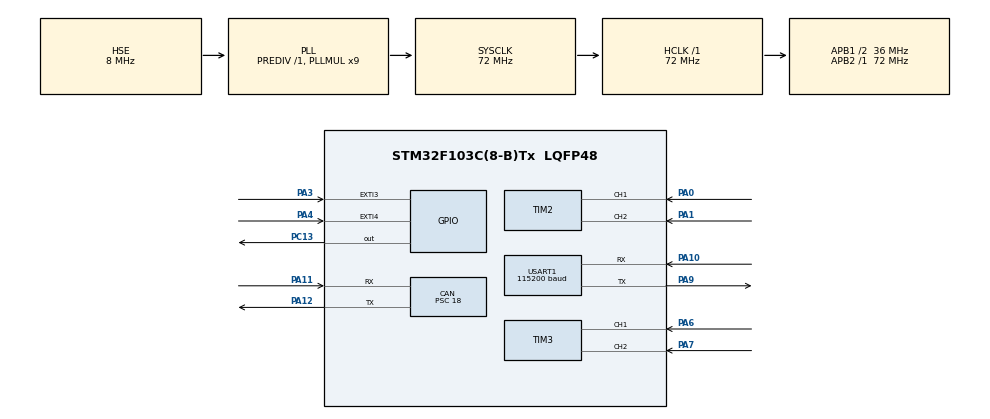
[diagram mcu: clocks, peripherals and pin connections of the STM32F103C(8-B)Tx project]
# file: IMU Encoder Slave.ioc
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CAN.BS1=CAN_BS1_2TQ
CAN.CalculateBaudRate=500000
CAN.CalculateTimeBit=2000
CAN.CalculateTimeQuantum=500.0
CAN.NART=ENABLE
CAN.Prescaler=18
Mcu.Family=STM32F1
Mcu.Name=STM32F103C(8-B)Tx
Mcu.Package=LQFP48
NVIC.CAN1_RX1_IRQn=true\:1\:0\:true\:false\:true\:true\:true\:true
NVIC.EXTI3_IRQn=true\:1\:0\:true\:false\:true\:true\:true\:true
NVIC.EXTI4_IRQn=true\:1\:0\:true\:false\:true\:true\:true\:true
NVIC.PriorityGroup=NVIC_PRIORITYGROUP_4
NVIC.USART1_IRQn=true\:1\:0\:true\:false\:true\:true\:true\:true
NVIC.USB_LP_CAN1_RX0_IRQn=true\:1\:0\:true\:false\:true\:true\:true\:true
PA0-WKUP.GPIO_PuPd=GPIO_PULLUP
PA0-WKUP.Signal=S_TIM2_CH1_ETR
PA1.GPIO_PuPd=GPIO_PULLUP
PA1.Signal=S_TIM2_CH2
PA10.Mode=Asynchronous
PA10.Signal=USART1_RX
PA11.Mode=CAN_Activate
PA11.Signal=CAN_RX
PA12.Mode=CAN_Activate
PA12.Signal=CAN_TX
PA13.Mode=Serial_Wire
PA13.Signal=SYS_JTMS-SWDIO
PA14.Mode=Serial_Wire
PA14.Signal=SYS_JTCK-SWCLK
PA3.GPIO_ModeDefaultEXTI=GPIO_MODE_IT_FALLING
PA3.GPIO_PuPd=GPIO_PULLUP
PA3.Signal=GPXTI3
PA4.GPIO_ModeDefaultEXTI=GPIO_MODE_IT_FALLING
PA4.GPIO_PuPd=GPIO_PULLUP
PA4.Signal=GPXTI4
PA6.GPIO_PuPd=GPIO_PULLUP
PA6.Signal=S_TIM3_CH1
PA7.GPIO_PuPd=GPIO_PULLUP
PA7.Signal=S_TIM3_CH2
PA9.Mode=Asynchronous
PA9.Signal=USART1_TX
PC13-TAMPER-RTC.Signal=GPIO_Output
PD0-OSC_IN.Mode=HSE-External-Oscillator
PD0-OSC_IN.Signal=RCC_OSC_IN
PD1-OSC_OUT.Mode=HSE-External-Oscillator
PD1-OSC_OUT.Signal=RCC_OSC_OUT
ProjectManager.HeapSize=0x200
ProjectManager.StackSize=0x400
ProjectManager.TargetToolchain=MDK-ARM V5.32
RCC.AHBFreq_Value=72000000
RCC.APB1CLKDivider=RCC_HCLK_DIV2
RCC.APB1Freq_Value=36000000
RCC.APB1TimFreq_Value=72000000
RCC.APB2Freq_Value=72000000
RCC.APB2TimFreq_Value=72000000
RCC.HCLKFreq_Value=72000000
RCC.PLLMUL=RCC_PLL_MUL9
RCC.PLLSourceVirtual=RCC_PLLSOURCE_HSE
RCC.SYSCLKFreq_VALUE=72000000
RCC.SYSCLKSource=RCC_SYSCLKSOURCE_PLLCLK
RCC.USBFreq_Value=72000000
SH.S_TIM2_CH1_ETR.0=TIM2_CH1,Encoder_Interface
SH.S_TIM2_CH2.0=TIM2_CH2,Encoder_Interface
SH.S_TIM3_CH1.0=TIM3_CH1,Encoder_Interface
SH.S_TIM3_CH2.0=TIM3_CH2,Encoder_Interface
TIM2.EncoderMode=TIM_ENCODERMODE_TI12
TIM3.EncoderMode=TIM_ENCODERMODE_TI12
USART1.BaudRate=115200
USART1.VirtualMode=VM_ASYNC
board=custom

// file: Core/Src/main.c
/* USER CODE BEGIN Header */
/**
  ******************************************************************************
  * @file           : main.c
  * @brief          : Main program body
  ******************************************************************************
  * @attention
  *
  * Copyright (c) 2025 STMicroelectronics.
  * All rights reserved.
  *
  * This software is licensed under terms that can be found in the LICENSE file
  * in the root directory of this software component.
  * If no LICENSE file comes with this software, it is provided AS-IS.
  *
  ******************************************************************************
  */
/* USER CODE END Header */
#include "main.h"

/* USER CODE BEGIN Includes */
#include "CANSlavelib.h"
#include "IMU.h"
#include "EncoderPosition.h"
/* USER CODE END Includes */

CAN_HandleTypeDef hcan;

TIM_HandleTypeDef htim2;
TIM_HandleTypeDef htim3;

UART_HandleTypeDef huart1;

/* USER CODE BEGIN PV */
CAN_RxHeaderTypeDef RxHeader;
CAN_TxMessage txmessage;
/* USER CODE END PV */

void SystemClock_Config(void);
static void MX_GPIO_Init(void);
static void MX_CAN_Init(void);
static void MX_TIM2_Init(void);
static void MX_TIM3_Init(void);
static void MX_USART1_UART_Init(void);

/* USER CODE BEGIN 0 */
Encoder_HandleTypeDef encoderx;
Encoder_HandleTypeDef encodery;

uint8_t 					IMU_Raw_Data[6];
uint8_t						IMU_Data_in;
Angle_ReadTypeDef angle;

CAN_FilterTypeDef canfilter;
Sensor_HandleTypedef IMU;
Sensor_HandleTypedef Encoder;

void HAL_GPIO_EXTI_Callback(uint16_t GPIO_Pin)
{
	Encoder_Zpulse_Dectect(&encoderx, GPIO_Pin);
	Encoder_Zpulse_Dectect(&encodery, GPIO_Pin);
}

void HAL_UART_RxCpltCallback(UART_HandleTypeDef *huart)
{
	if (huart->Instance == huart1.Instance)
	{
		IMU_Data_In(IMU_Data_in);
		HAL_UART_Receive_IT(&huart1, &IMU_Data_in, 1);
	}
}

void HAL_CAN_RxFifo0MsgPendingCallback(CAN_HandleTypeDef *hcan)
{
	CAN_Slave_FIFO0_RxMessage(hcan);
}

void CAN_Sensor_Start_Handle(void)
{
	CAN_Start_IMU(&IMU ,&huart1, &IMU_Data_in);
	CAN_Start_Encoder(&Encoder, &htim2, &htim3);
}

void CAN_Sensor_Reset_Handle(void)
{
	CAN_Reset_Encoder(&hcan, &Encoder, &encoderx, &encodery);
	CAN_Reset_IMU(&hcan, &IMU);
}

void CAN_Sensor_Stop_Handle(void)
{
	CAN_Stop_Sensor(&hcan, &IMU);
	CAN_Stop_Sensor(&hcan, &Encoder);
}

void CAN_Encoder_Assign_Handle(void)
{
	CAN_Assign_Encoder(&hcan, Encoder, &encoderx, &encodery);
}

uint32_t time;

/* USER CODE END 0 */

int main(void)
{

  /* MCU Configuration--------------------------------------------------------*/

  /* Reset of all peripherals, Initializes the Flash interface and the Systick. */
  HAL_Init();

  /* Configure the system clock */
  SystemClock_Config();

  /* Initialize all configured peripherals */
  MX_GPIO_Init();
  MX_CAN_Init();
  MX_TIM2_Init();
  MX_TIM3_Init();
  MX_USART1_UART_Init();
  /* USER CODE BEGIN 2 */
	Encoder_Init(&encoderx, &htim2, 1000, ZX_PIN);
	Encoder_Init(&encodery, &htim3, 1000, ZY_PIN);

	HAL_CAN_Start(&hcan);
	HAL_CAN_ActivateNotification(&hcan, CAN_IT_RX_FIFO0_MSG_PENDING);
	CAN_Fifo0_Filter_Config(&hcan, &canfilter, 10, 0, 0);

	CAN_Sensor_Init(&IMU, IMU_ID);
	CAN_Sensor_Init(&Encoder, ENC_ID);
	//H AL_UART_Receive_IT(&huart1, &IMU_Data_in, 1);
	//CAN_Sensor_ErrorFb(&hcan, Encoder);
	//CAN_Sensor_ErrorFb(&hcan, IMU);
  /* USER CODE END 2 */

  /* Infinite loop */
  while (1)
  {

    /* USER CODE BEGIN 3 */

		if ((HAL_GetTick() - time) > 200)
		{
			HAL_GPIO_TogglePin(GPIOC, GPIO_PIN_13);
			time = HAL_GetTick();
		}

		CAN_Slave_FIFO0_Recieve_Cmd_Handle(&hcan);

		Encoder_Position_Handle(&encoderx, 50.0);
		Encoder_Position_Handle(&encodery, 50.0);
		IMU_Reset_Zero(&huart1);
		IMU_Data_Process(&angle, IMU_Raw_Data);

		CAN_Encoder_Data_Transmit(&hcan, &Encoder, encoderx.position, encodery.position);
		CAN_IMU_Data_Transmit(&hcan, &IMU, IMU_Raw_Data);

		CAN_Slave_FIFO0_ReFb_Handle(&hcan);
  }
  /* USER CODE END 3 */
}

void SystemClock_Config(void)
{
  RCC_OscInitTypeDef RCC_OscInitStruct = {0};
  RCC_ClkInitTypeDef RCC_ClkInitStruct = {0};

  /** Initializes the RCC Oscillators according to the specified parameters
  * in the RCC_OscInitTypeDef structure.
  */
  RCC_OscInitStruct.OscillatorType = RCC_OSCILLATORTYPE_HSE;
  RCC_OscInitStruct.HSEState = RCC_HSE_ON;
  RCC_OscInitStruct.HSEPredivValue = RCC_HSE_PREDIV_DIV1;
  RCC_OscInitStruct.HSIState = RCC_HSI_ON;
  RCC_OscInitStruct.PLL.PLLState = RCC_PLL_ON;
  RCC_OscInitStruct.PLL.PLLSource = RCC_PLLSOURCE_HSE;
  RCC_OscInitStruct.PLL.PLLMUL = RCC_PLL_MUL9;
  if (HAL_RCC_OscConfig(&RCC_OscInitStruct) != HAL_OK)
  {
    Error_Handler();
  }

  /** Initializes the CPU, AHB and APB buses clocks
  */
  RCC_ClkInitStruct.ClockType = RCC_CLOCKTYPE_HCLK|RCC_CLOCKTYPE_SYSCLK
                              |RCC_CLOCKTYPE_PCLK1|RCC_CLOCKTYPE_PCLK2;
  RCC_ClkInitStruct.SYSCLKSource = RCC_SYSCLKSOURCE_PLLCLK;
  RCC_ClkInitStruct.AHBCLKDivider = RCC_SYSCLK_DIV1;
  RCC_ClkInitStruct.APB1CLKDivider = RCC_HCLK_DIV2;
  RCC_ClkInitStruct.APB2CLKDivider = RCC_HCLK_DIV1;

  if (HAL_RCC_ClockConfig(&RCC_ClkInitStruct, FLASH_LATENCY_2) != HAL_OK)
  {
    Error_Handler();
  }
}

static void MX_CAN_Init(void)
{

  hcan.Instance = CAN1;
  hcan.Init.Prescaler = 18;
  hcan.Init.Mode = CAN_MODE_NORMAL;
  hcan.Init.SyncJumpWidth = CAN_SJW_1TQ;
  hcan.Init.TimeSeg1 = CAN_BS1_2TQ;
  hcan.Init.TimeSeg2 = CAN_BS2_1TQ;
  hcan.Init.TimeTriggeredMode = DISABLE;
  hcan.Init.AutoBusOff = DISABLE;
  hcan.Init.AutoWakeUp = DISABLE;
  hcan.Init.AutoRetransmission = ENABLE;
  hcan.Init.ReceiveFifoLocked = DISABLE;
  hcan.Init.TransmitFifoPriority = DISABLE;
  if (HAL_CAN_Init(&hcan) != HAL_OK)
  {
    Error_Handler();
  }

}

static void MX_TIM2_Init(void)
{

  TIM_Encoder_InitTypeDef sConfig = {0};
  TIM_MasterConfigTypeDef sMasterConfig = {0};

  htim2.Instance = TIM2;
  htim2.Init.Prescaler = 0;
  htim2.Init.CounterMode = TIM_COUNTERMODE_UP;
  htim2.Init.Period = 65535;
  htim2.Init.ClockDivision = TIM_CLOCKDIVISION_DIV1;
  htim2.Init.AutoReloadPreload = TIM_AUTORELOAD_PRELOAD_DISABLE;
  sConfig.EncoderMode = TIM_ENCODERMODE_TI12;
  sConfig.IC1Polarity = TIM_ICPOLARITY_RISING;
  sConfig.IC1Selection = TIM_ICSELECTION_DIRECTTI;
  sConfig.IC1Prescaler = TIM_ICPSC_DIV1;
  sConfig.IC1Filter = 0;
  sConfig.IC2Polarity = TIM_ICPOLARITY_RISING;
  sConfig.IC2Selection = TIM_ICSELECTION_DIRECTTI;
  sConfig.IC2Prescaler = TIM_ICPSC_DIV1;
  sConfig.IC2Filter = 0;
  if (HAL_TIM_Encoder_Init(&htim2, &sConfig) != HAL_OK)
  {
    Error_Handler();
  }
  sMasterConfig.MasterOutputTrigger = TIM_TRGO_RESET;
  sMasterConfig.MasterSlaveMode = TIM_MASTERSLAVEMODE_DISABLE;
  if (HAL_TIMEx_MasterConfigSynchronization(&htim2, &sMasterConfig) != HAL_OK)
  {
    Error_Handler();
  }

}

static void MX_TIM3_Init(void)
{

  TIM_Encoder_InitTypeDef sConfig = {0};
  TIM_MasterConfigTypeDef sMasterConfig = {0};

  htim3.Instance = TIM3;
  htim3.Init.Prescaler = 0;
  htim3.Init.CounterMode = TIM_COUNTERMODE_UP;
  htim3.Init.Period = 65535;
  htim3.Init.ClockDivision = TIM_CLOCKDIVISION_DIV1;
  htim3.Init.AutoReloadPreload = TIM_AUTORELOAD_PRELOAD_DISABLE;
  sConfig.EncoderMode = TIM_ENCODERMODE_TI12;
  sConfig.IC1Polarity = TIM_ICPOLARITY_RISING;
  sConfig.IC1Selection = TIM_ICSELECTION_DIRECTTI;
  sConfig.IC1Prescaler = TIM_ICPSC_DIV1;
  sConfig.IC1Filter = 0;
  sConfig.IC2Polarity = TIM_ICPOLARITY_RISING;
  sConfig.IC2Selection = TIM_ICSELECTION_DIRECTTI;
  sConfig.IC2Prescaler = TIM_ICPSC_DIV1;
  sConfig.IC2Filter = 0;
  if (HAL_TIM_Encoder_Init(&htim3, &sConfig) != HAL_OK)
  {
    Error_Handler();
  }
  sMasterConfig.MasterOutputTrigger = TIM_TRGO_RESET;
  sMasterConfig.MasterSlaveMode = TIM_MASTERSLAVEMODE_DISABLE;
  if (HAL_TIMEx_MasterConfigSynchronization(&htim3, &sMasterConfig) != HAL_OK)
  {
    Error_Handler();
  }

}

static void MX_USART1_UART_Init(void)
{

  huart1.Instance = USART1;
  huart1.Init.BaudRate = 115200;
  huart1.Init.WordLength = UART_WORDLENGTH_8B;
  huart1.Init.StopBits = UART_STOPBITS_1;
  huart1.Init.Parity = UART_PARITY_NONE;
  huart1.Init.Mode = UART_MODE_TX_RX;
  huart1.Init.HwFlowCtl = UART_HWCONTROL_NONE;
  huart1.Init.OverSampling = UART_OVERSAMPLING_16;
  if (HAL_UART_Init(&huart1) != HAL_OK)
  {
    Error_Handler();
  }

}

static void MX_GPIO_Init(void)
{
  GPIO_InitTypeDef GPIO_InitStruct = {0};

  /* GPIO Ports Clock Enable */
  __HAL_RCC_GPIOC_CLK_ENABLE();
  __HAL_RCC_GPIOD_CLK_ENABLE();
  __HAL_RCC_GPIOA_CLK_ENABLE();

  /*Configure GPIO pin Output Level */
  HAL_GPIO_WritePin(GPIOC, GPIO_PIN_13, GPIO_PIN_RESET);

  /*Configure GPIO pin : PC13 */
  GPIO_InitStruct.Pin = GPIO_PIN_13;
  GPIO_InitStruct.Mode = GPIO_MODE_OUTPUT_PP;
  GPIO_InitStruct.Pull = GPIO_NOPULL;
  GPIO_InitStruct.Speed = GPIO_SPEED_FREQ_LOW;
  HAL_GPIO_Init(GPIOC, &GPIO_InitStruct);

  /*Configure GPIO pins : PA3 PA4 */
  GPIO_InitStruct.Pin = GPIO_PIN_3|GPIO_PIN_4;
  GPIO_InitStruct.Mode = GPIO_MODE_IT_FALLING;
  GPIO_InitStruct.Pull = GPIO_PULLUP;
  HAL_GPIO_Init(GPIOA, &GPIO_InitStruct);

  /* EXTI interrupt init*/
  HAL_NVIC_SetPriority(EXTI3_IRQn, 1, 0);
  HAL_NVIC_EnableIRQ(EXTI3_IRQn);

  HAL_NVIC_SetPriority(EXTI4_IRQn, 1, 0);
  HAL_NVIC_EnableIRQ(EXTI4_IRQn);

}

void Error_Handler(void)
{
  __disable_irq();
  while (1)
  {
  }
}
